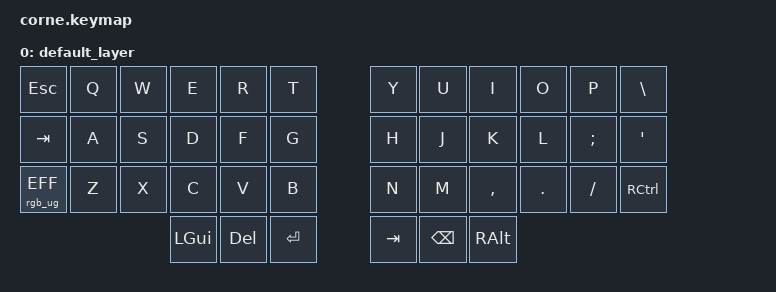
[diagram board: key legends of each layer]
#include <behaviors.dtsi>
#include <dt-bindings/zmk/keys.h>
#include <dt-bindings/zmk/rgb.h>

/ {
	keymap {
		compatible = "zmk,keymap";

		default_layer {
// ---------------------------------------------------------------------------------------------------------------------------------
// |  ESC  |  Q  |  W  |  E   |  R   |  T   |   |  Y   |  U    |  I    |  O   |   P   |   \  |
// |  TAB  |  A  |  S  |  D   |  F   |  G   |   |  H   |  J    |  K    |  L   |   ;   |   '  |
// | SHIFT |  Z  |  X  |  C   |  V   |  B   |   |  N   |  M    |  ,    |  .   |   /   | CTRL |
//                     | GUI  | DEL  | RET  |   | TAB  | BSPC  | R-ALT |
			bindings = <
	&kp ESC  &kp Q &kp W &kp E &kp R &kp T  &kp Y &kp U  &kp I    &kp O   &kp P    &kp BSLH
	&kp TAB  &kp A &kp S &kp D &kp F &kp G  &kp H &kp J  &kp K    &kp L   &kp SCLN &kp QUOT
	&rgb_ug RGB_EFF &kp Z &kp X &kp C &kp V &kp B  &kp N &kp M  &kp CMMA &kp DOT &kp FSLH &kp RCTL
	              &kp LGUI &kp DEL &kp RET  &kp TAB &kp BKSP &kp RALT
			>;
		};
	};
};
